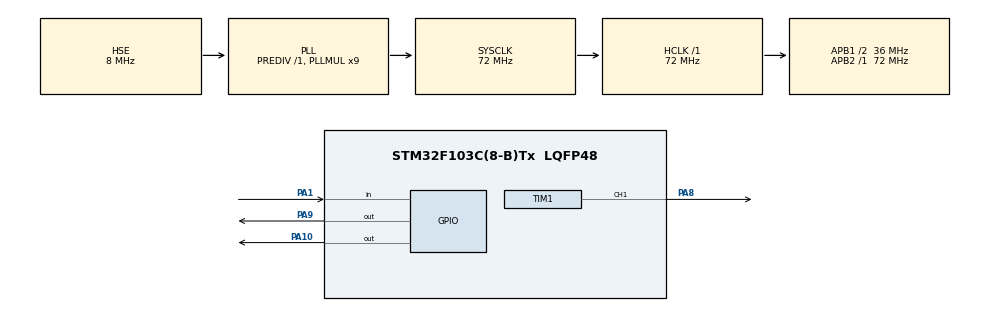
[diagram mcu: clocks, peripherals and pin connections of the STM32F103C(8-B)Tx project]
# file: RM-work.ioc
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Mcu.Family=STM32F1
Mcu.Name=STM32F103C(8-B)Tx
Mcu.Package=LQFP48
NVIC.PriorityGroup=NVIC_PRIORITYGROUP_4
PA1.GPIO_PuPd=GPIO_PULLUP
PA1.Signal=GPIO_Input
PA10.PinState=GPIO_PIN_RESET
PA10.Signal=GPIO_Output
PA13.Mode=Serial_Wire
PA13.Signal=SYS_JTMS-SWDIO
PA14.Mode=Serial_Wire
PA14.Signal=SYS_JTCK-SWCLK
PA8.Signal=S_TIM1_CH1
PA9.PinState=GPIO_PIN_RESET
PA9.Signal=GPIO_Output
PD0-OSC_IN.Mode=HSE-External-Oscillator
PD0-OSC_IN.Signal=RCC_OSC_IN
PD1-OSC_OUT.Mode=HSE-External-Oscillator
PD1-OSC_OUT.Signal=RCC_OSC_OUT
ProjectManager.HeapSize=0x200
ProjectManager.StackSize=0x400
ProjectManager.TargetToolchain=MDK-ARM V5.32
RCC.AHBFreq_Value=72000000
RCC.APB1CLKDivider=RCC_HCLK_DIV2
RCC.APB1Freq_Value=36000000
RCC.APB1TimFreq_Value=72000000
RCC.APB2Freq_Value=72000000
RCC.APB2TimFreq_Value=72000000
RCC.HCLKFreq_Value=72000000
RCC.PLLMUL=RCC_PLL_MUL9
RCC.PLLSourceVirtual=RCC_PLLSOURCE_HSE
RCC.SYSCLKFreq_VALUE=72000000
RCC.SYSCLKSource=RCC_SYSCLKSOURCE_PLLCLK
RCC.USBFreq_Value=72000000
SH.S_TIM1_CH1.0=TIM1_CH1,PWM Generation1 CH1
TIM1.AutoReloadPreload=TIM_AUTORELOAD_PRELOAD_ENABLE
TIM1.Channel-PWM\ Generation1\ CH1=TIM_CHANNEL_1
TIM1.Period=999
TIM1.Prescaler=71
TIM1.Pulse-PWM\ Generation1\ CH1=500
VP_TIM1_VS_ClockSourceINT.Mode=Internal
board=custom

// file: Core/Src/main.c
/* USER CODE BEGIN Header */
/**
  ******************************************************************************
  * @file           : main.c
  * @brief          : Main program body
  ******************************************************************************
  * @attention
  *
  * Copyright (c) 2026 STMicroelectronics.
  * All rights reserved.
  *
  * This software is licensed under terms that can be found in the LICENSE file
  * in the root directory of this software component.
  * If no LICENSE file comes with this software, it is provided AS-IS.
  *
  ******************************************************************************
  */
/* USER CODE END Header */
#include "main.h"

TIM_HandleTypeDef htim1;

/* USER CODE BEGIN PV */
uint8_t music_on=0;   //0是关，1是开
uint8_t anniu_now=1;
uint8_t anniu_before=1;
/* USER CODE END PV */

void SystemClock_Config(void);
static void MX_GPIO_Init(void);
static void MX_TIM1_Init(void);

/* USER CODE BEGIN 0 */
#define diao_1 262
#define diao_2 294
#define diao_3 330
#define diao_4 349
#define diao_5 392
#define diao_6 440
#define diao_7 500

uint16_t xiaoxinxin[]=
{
	diao_1 ,diao_1 ,diao_5 ,diao_5 ,diao_6 ,diao_6 ,diao_5 ,
	diao_4 ,diao_4 ,diao_3 ,diao_3 ,diao_2 ,diao_2 ,diao_1 ,
	diao_5 ,diao_5 ,diao_4 ,diao_4 ,diao_3 ,diao_3 ,diao_2 ,
	diao_5 ,diao_5 ,diao_4 ,diao_4 ,diao_3 ,diao_3 ,diao_2
};

void tiaodiao(void) {
    for(int i = 0; i < 28; i++) {
//        // ===== 音符开始前：穿插检测（打断） =====
//        anniu_now = HAL_GPIO_ReadPin(GPIOA, GPIO_PIN_1);
//        if(anniu_before == 0 && anniu_now == 1) { // 0->1 松手
//            HAL_Delay(30); // 消抖
//            if(HAL_GPIO_ReadPin(GPIOA, GPIO_PIN_1) == 1) {
//                music_on = 0;          // 停止
//                anniu_before = anniu_now ;      // 更新状态
//                break;                 // 立刻跳出 for 循环
//            }
//        }
        anniu_before = anniu_now; // 正常更新（未被打断时）

        // ===== 放当前音符 =====

            uint32_t arr = (1000000 / xiaoxinxin[i])-1;
            __HAL_TIM_SET_AUTORELOAD(&htim1, arr);
            __HAL_TIM_SET_COMPARE(&htim1, TIM_CHANNEL_1, arr / 2); // 50%占空比

        //（SET=亮，交替）
        if(i % 2 == 0) {
            HAL_GPIO_WritePin(GPIOA, GPIO_PIN_10, GPIO_PIN_SET);   // 亮
            HAL_GPIO_WritePin(GPIOA, GPIO_PIN_9,  GPIO_PIN_RESET); // 灭
        } else {
            HAL_GPIO_WritePin(GPIOA, GPIO_PIN_9,  GPIO_PIN_SET);   // 亮
            HAL_GPIO_WritePin(GPIOA, GPIO_PIN_10, GPIO_PIN_RESET); // 灭
        }

        HAL_Delay(250); // 延时250ms

        // ===== 间歇停顿 =====
        __HAL_TIM_SET_COMPARE(&htim1, TIM_CHANNEL_1, 0); // 关声
        HAL_GPIO_WritePin(GPIOA, GPIO_PIN_9,  GPIO_PIN_SET); // 全亮（SET=亮）
        HAL_GPIO_WritePin(GPIOA, GPIO_PIN_10, GPIO_PIN_SET);
        HAL_Delay(30);

        // ===== 间歇后再次检测（打断） =====
        anniu_now = HAL_GPIO_ReadPin(GPIOA, GPIO_PIN_1);
        if(anniu_before == 0 && anniu_now == 1) {
            HAL_Delay(30);
            if(HAL_GPIO_ReadPin(GPIOA, GPIO_PIN_1) == 1) {
                music_on = 0;
                anniu_before = anniu_now ;
                break;
            }
        }
        anniu_before = anniu_now;
    }

    // ===== 播放结束 或 被打断：静音+全亮 =====
    __HAL_TIM_SET_COMPARE(&htim1, TIM_CHANNEL_1, 0);
    HAL_GPIO_WritePin(GPIOA, GPIO_PIN_9,  GPIO_PIN_SET); // 全亮
    HAL_GPIO_WritePin(GPIOA, GPIO_PIN_10, GPIO_PIN_SET);

    // 正常播完也置0
    music_on = 0;
}

/* USER CODE END 0 */

int main(void)
{

  /* MCU Configuration--------------------------------------------------------*/

  /* Reset of all peripherals, Initializes the Flash interface and the Systick. */
  HAL_Init();

  /* Configure the system clock */
  SystemClock_Config();

  /* Initialize all configured peripherals */
  MX_GPIO_Init();
  MX_TIM1_Init();
  /* USER CODE BEGIN 2 */
  HAL_TIM_PWM_Start (&htim1 ,TIM_CHANNEL_1 );
  __HAL_TIM_MOE_ENABLE (&htim1 );
  /* USER CODE END 2 */

  /* Infinite loop */
  /* USER CODE BEGIN WHILE */
 while(1) {
        // ===== 主循环：统一按键检测与状态收尾 =====
        anniu_now = HAL_GPIO_ReadPin(GPIOA, GPIO_PIN_1);

        // 松手沿（0->1）且消抖确认
        if(anniu_before == 0 && anniu_now == 1) {
            HAL_Delay(30);
            if(HAL_GPIO_ReadPin(GPIOA, GPIO_PIN_1) == 1) {
                music_on = !music_on; // 翻转
                if(music_on) {
                    tiaodiao(); // 启动播放
                }
            }
        }
        anniu_before = anniu_now; // 主循环统一更新状态

        // 停止状态：静音 + 全亮（SET=亮）
        if(!music_on) {
            __HAL_TIM_SET_COMPARE(&htim1, TIM_CHANNEL_1, 0);
            HAL_GPIO_WritePin(GPIOA, GPIO_PIN_9,  GPIO_PIN_SET);
            HAL_GPIO_WritePin(GPIOA, GPIO_PIN_10, GPIO_PIN_SET);
        }
    }
  /* USER CODE END 3 */
}

void SystemClock_Config(void)
{
  RCC_OscInitTypeDef RCC_OscInitStruct = {0};
  RCC_ClkInitTypeDef RCC_ClkInitStruct = {0};

  /** Initializes the RCC Oscillators according to the specified parameters
  * in the RCC_OscInitTypeDef structure.
  */
  RCC_OscInitStruct.OscillatorType = RCC_OSCILLATORTYPE_HSE;
  RCC_OscInitStruct.HSEState = RCC_HSE_ON;
  RCC_OscInitStruct.HSEPredivValue = RCC_HSE_PREDIV_DIV1;
  RCC_OscInitStruct.HSIState = RCC_HSI_ON;
  RCC_OscInitStruct.PLL.PLLState = RCC_PLL_ON;
  RCC_OscInitStruct.PLL.PLLSource = RCC_PLLSOURCE_HSE;
  RCC_OscInitStruct.PLL.PLLMUL = RCC_PLL_MUL9;
  if (HAL_RCC_OscConfig(&RCC_OscInitStruct) != HAL_OK)
  {
    Error_Handler();
  }

  /** Initializes the CPU, AHB and APB buses clocks
  */
  RCC_ClkInitStruct.ClockType = RCC_CLOCKTYPE_HCLK|RCC_CLOCKTYPE_SYSCLK
                              |RCC_CLOCKTYPE_PCLK1|RCC_CLOCKTYPE_PCLK2;
  RCC_ClkInitStruct.SYSCLKSource = RCC_SYSCLKSOURCE_PLLCLK;
  RCC_ClkInitStruct.AHBCLKDivider = RCC_SYSCLK_DIV1;
  RCC_ClkInitStruct.APB1CLKDivider = RCC_HCLK_DIV2;
  RCC_ClkInitStruct.APB2CLKDivider = RCC_HCLK_DIV1;

  if (HAL_RCC_ClockConfig(&RCC_ClkInitStruct, FLASH_LATENCY_2) != HAL_OK)
  {
    Error_Handler();
  }
}

static void MX_TIM1_Init(void)
{

  TIM_ClockConfigTypeDef sClockSourceConfig = {0};
  TIM_MasterConfigTypeDef sMasterConfig = {0};
  TIM_OC_InitTypeDef sConfigOC = {0};
  TIM_BreakDeadTimeConfigTypeDef sBreakDeadTimeConfig = {0};

  htim1.Instance = TIM1;
  htim1.Init.Prescaler = 71;
  htim1.Init.CounterMode = TIM_COUNTERMODE_UP;
  htim1.Init.Period = 999;
  htim1.Init.ClockDivision = TIM_CLOCKDIVISION_DIV1;
  htim1.Init.RepetitionCounter = 0;
  htim1.Init.AutoReloadPreload = TIM_AUTORELOAD_PRELOAD_ENABLE;
  if (HAL_TIM_Base_Init(&htim1) != HAL_OK)
  {
    Error_Handler();
  }
  sClockSourceConfig.ClockSource = TIM_CLOCKSOURCE_INTERNAL;
  if (HAL_TIM_ConfigClockSource(&htim1, &sClockSourceConfig) != HAL_OK)
  {
    Error_Handler();
  }
  if (HAL_TIM_PWM_Init(&htim1) != HAL_OK)
  {
    Error_Handler();
  }
  sMasterConfig.MasterOutputTrigger = TIM_TRGO_RESET;
  sMasterConfig.MasterSlaveMode = TIM_MASTERSLAVEMODE_DISABLE;
  if (HAL_TIMEx_MasterConfigSynchronization(&htim1, &sMasterConfig) != HAL_OK)
  {
    Error_Handler();
  }
  sConfigOC.OCMode = TIM_OCMODE_PWM1;
  sConfigOC.Pulse = 500;
  sConfigOC.OCPolarity = TIM_OCPOLARITY_HIGH;
  sConfigOC.OCNPolarity = TIM_OCNPOLARITY_HIGH;
  sConfigOC.OCFastMode = TIM_OCFAST_DISABLE;
  sConfigOC.OCIdleState = TIM_OCIDLESTATE_RESET;
  sConfigOC.OCNIdleState = TIM_OCNIDLESTATE_RESET;
  if (HAL_TIM_PWM_ConfigChannel(&htim1, &sConfigOC, TIM_CHANNEL_1) != HAL_OK)
  {
    Error_Handler();
  }
  sBreakDeadTimeConfig.OffStateRunMode = TIM_OSSR_DISABLE;
  sBreakDeadTimeConfig.OffStateIDLEMode = TIM_OSSI_DISABLE;
  sBreakDeadTimeConfig.LockLevel = TIM_LOCKLEVEL_OFF;
  sBreakDeadTimeConfig.DeadTime = 0;
  sBreakDeadTimeConfig.BreakState = TIM_BREAK_DISABLE;
  sBreakDeadTimeConfig.BreakPolarity = TIM_BREAKPOLARITY_HIGH;
  sBreakDeadTimeConfig.AutomaticOutput = TIM_AUTOMATICOUTPUT_DISABLE;
  if (HAL_TIMEx_ConfigBreakDeadTime(&htim1, &sBreakDeadTimeConfig) != HAL_OK)
  {
    Error_Handler();
  }
  HAL_TIM_MspPostInit(&htim1);

}

static void MX_GPIO_Init(void)
{
  GPIO_InitTypeDef GPIO_InitStruct = {0};

  /* GPIO Ports Clock Enable */
  __HAL_RCC_GPIOD_CLK_ENABLE();
  __HAL_RCC_GPIOA_CLK_ENABLE();

  /*Configure GPIO pin Output Level */
  HAL_GPIO_WritePin(GPIOA, GPIO_PIN_9|GPIO_PIN_10, GPIO_PIN_RESET);

  /*Configure GPIO pin : PA1 */
  GPIO_InitStruct.Pin = GPIO_PIN_1;
  GPIO_InitStruct.Mode = GPIO_MODE_INPUT;
  GPIO_InitStruct.Pull = GPIO_PULLUP;
  HAL_GPIO_Init(GPIOA, &GPIO_InitStruct);

  /*Configure GPIO pins : PA9 PA10 */
  GPIO_InitStruct.Pin = GPIO_PIN_9|GPIO_PIN_10;
  GPIO_InitStruct.Mode = GPIO_MODE_OUTPUT_PP;
  GPIO_InitStruct.Pull = GPIO_NOPULL;
  GPIO_InitStruct.Speed = GPIO_SPEED_FREQ_LOW;
  HAL_GPIO_Init(GPIOA, &GPIO_InitStruct);

}

void Error_Handler(void)
{
  __disable_irq();
  while (1)
  {
  }
}
